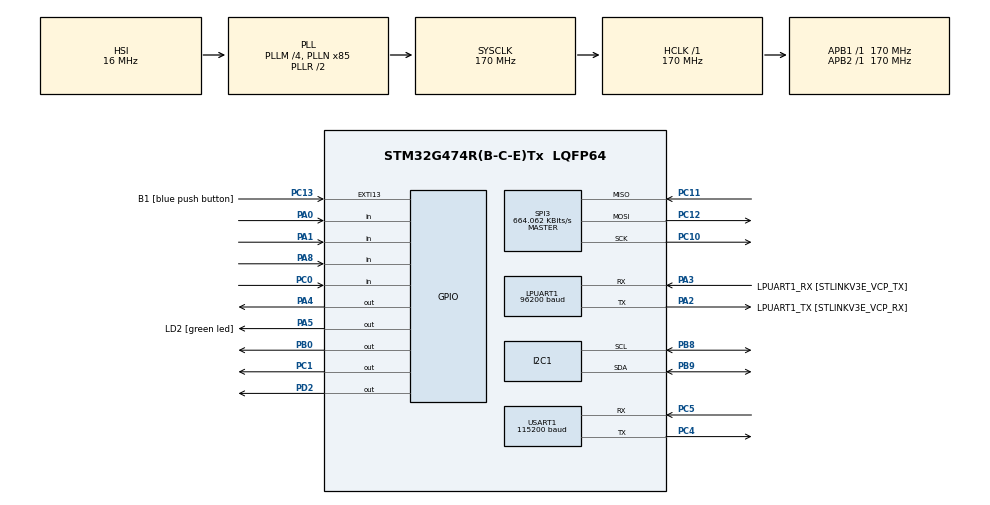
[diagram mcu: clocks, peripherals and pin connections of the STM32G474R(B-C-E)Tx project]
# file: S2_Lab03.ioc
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Dma.I2C1_RX.1.Direction=DMA_PERIPH_TO_MEMORY
Dma.I2C1_RX.1.EventEnable=DISABLE
Dma.I2C1_RX.1.Instance=DMA1_Channel1
Dma.I2C1_RX.1.MemDataAlignment=DMA_MDATAALIGN_BYTE
Dma.I2C1_RX.1.MemInc=DMA_MINC_ENABLE
Dma.I2C1_RX.1.Mode=DMA_NORMAL
Dma.I2C1_RX.1.PeriphDataAlignment=DMA_PDATAALIGN_BYTE
Dma.I2C1_RX.1.PeriphInc=DMA_PINC_DISABLE
Dma.I2C1_RX.1.Polarity=HAL_DMAMUX_REQ_GEN_RISING
Dma.I2C1_RX.1.Priority=DMA_PRIORITY_LOW
Dma.I2C1_RX.1.RequestNumber=1
Dma.I2C1_RX.1.SignalID=NONE
Dma.I2C1_RX.1.SyncEnable=DISABLE
Dma.I2C1_RX.1.SyncPolarity=HAL_DMAMUX_SYNC_NO_EVENT
Dma.I2C1_RX.1.SyncRequestNumber=1
Dma.I2C1_RX.1.SyncSignalID=NONE
Dma.I2C1_TX.2.Direction=DMA_MEMORY_TO_PERIPH
Dma.I2C1_TX.2.EventEnable=DISABLE
Dma.I2C1_TX.2.Instance=DMA1_Channel2
Dma.I2C1_TX.2.MemDataAlignment=DMA_MDATAALIGN_BYTE
Dma.I2C1_TX.2.MemInc=DMA_MINC_ENABLE
Dma.I2C1_TX.2.Mode=DMA_NORMAL
Dma.I2C1_TX.2.PeriphDataAlignment=DMA_PDATAALIGN_BYTE
Dma.I2C1_TX.2.PeriphInc=DMA_PINC_DISABLE
Dma.I2C1_TX.2.Polarity=HAL_DMAMUX_REQ_GEN_RISING
Dma.I2C1_TX.2.Priority=DMA_PRIORITY_LOW
Dma.I2C1_TX.2.RequestNumber=1
Dma.I2C1_TX.2.SignalID=NONE
Dma.I2C1_TX.2.SyncEnable=DISABLE
Dma.I2C1_TX.2.SyncPolarity=HAL_DMAMUX_SYNC_NO_EVENT
Dma.I2C1_TX.2.SyncRequestNumber=1
Dma.I2C1_TX.2.SyncSignalID=NONE
Dma.LPUART1_RX.0.Direction=DMA_PERIPH_TO_MEMORY
Dma.LPUART1_RX.0.EventEnable=DISABLE
Dma.LPUART1_RX.0.Instance=DMA1_Channel3
Dma.LPUART1_RX.0.MemDataAlignment=DMA_MDATAALIGN_BYTE
Dma.LPUART1_RX.0.MemInc=DMA_MINC_ENABLE
Dma.LPUART1_RX.0.Mode=DMA_NORMAL
Dma.LPUART1_RX.0.PeriphDataAlignment=DMA_PDATAALIGN_BYTE
Dma.LPUART1_RX.0.PeriphInc=DMA_PINC_DISABLE
Dma.LPUART1_RX.0.Polarity=HAL_DMAMUX_REQ_GEN_RISING
Dma.LPUART1_RX.0.Priority=DMA_PRIORITY_LOW
Dma.LPUART1_RX.0.RequestNumber=1
Dma.LPUART1_RX.0.SignalID=NONE
Dma.LPUART1_RX.0.SyncEnable=DISABLE
Dma.LPUART1_RX.0.SyncPolarity=HAL_DMAMUX_SYNC_NO_EVENT
Dma.LPUART1_RX.0.SyncRequestNumber=1
Dma.LPUART1_RX.0.SyncSignalID=NONE
Dma.Request0=LPUART1_RX
Dma.Request1=I2C1_RX
Dma.Request2=I2C1_TX
I2C1.Timing=0x30A0A7FB
LPUART1.BaudRate=96200
LPUART1.StopBits=UART_STOPBITS_1
LPUART1.WordLength=UART_WORDLENGTH_8B
Mcu.Family=STM32G4
Mcu.Name=STM32G474R(B-C-E)Tx
Mcu.Package=LQFP64
NVIC.DMA1_Channel1_IRQn=true\:0\:0\:false\:false\:true\:false\:true\:true
NVIC.DMA1_Channel2_IRQn=true\:0\:0\:false\:false\:true\:false\:true\:true
NVIC.DMA1_Channel3_IRQn=true\:0\:0\:false\:false\:true\:false\:true\:true
NVIC.EXTI15_10_IRQn=true\:0\:0\:false\:false\:true\:true\:true\:true
NVIC.I2C1_ER_IRQn=true\:0\:0\:false\:false\:true\:true\:true\:true
NVIC.I2C1_EV_IRQn=true\:0\:0\:false\:false\:true\:true\:true\:true
NVIC.PriorityGroup=NVIC_PRIORITYGROUP_4
NVIC.SPI3_IRQn=true\:0\:0\:false\:false\:true\:true\:true\:true
PA0.GPIO_PuPd=GPIO_NOPULL
PA0.Signal=GPIO_Input
PA1.Signal=GPIO_Input
PA13.GPIO_Label=T_SWDIO
PA13.Mode=Serial_Wire
PA13.Signal=SYS_JTMS-SWDIO
PA14.GPIO_Label=T_SWCLK
PA14.Mode=Serial_Wire
PA14.Signal=SYS_JTCK-SWCLK
PA2.GPIO_Label=LPUART1_TX [STLINKV3E_VCP_RX]
PA2.Mode=Asynchronous
PA2.Signal=LPUART1_TX
PA3.GPIO_Label=LPUART1_RX [STLINKV3E_VCP_TX]
PA3.Mode=Asynchronous
PA3.Signal=LPUART1_RX
PA4.GPIO_ModeDefaultOutputPP=GPIO_MODE_OUTPUT_OD
PA4.GPIO_PuPd=GPIO_NOPULL
PA4.Signal=GPIO_Output
PA5.GPIO_Label=LD2 [green led]
PA5.GPIO_ModeDefaultOutputPP=GPIO_MODE_OUTPUT_OD
PA5.GPIO_PuPd=GPIO_NOPULL
PA5.Signal=GPIO_Output
PA8.Signal=GPIO_Input
PB0.GPIO_ModeDefaultOutputPP=GPIO_MODE_OUTPUT_OD
PB0.GPIO_PuPd=GPIO_NOPULL
PB0.Signal=GPIO_Output
PB3.GPIO_Label=T_SWO
PB3.Signal=SYS_JTDO-SWO
PB8-BOOT0.Mode=I2C
PB8-BOOT0.Signal=I2C1_SCL
PB9.Mode=I2C
PB9.Signal=I2C1_SDA
PC0.GPIO_PuPd=GPIO_PULLUP
PC0.Signal=GPIO_Input
PC1.GPIO_ModeDefaultOutputPP=GPIO_MODE_OUTPUT_OD
PC1.GPIO_PuPd=GPIO_NOPULL
PC1.Signal=GPIO_Output
PC10.Mode=Full_Duplex_Master
PC10.Signal=SPI3_SCK
PC11.Mode=Full_Duplex_Master
PC11.Signal=SPI3_MISO
PC12.Mode=Full_Duplex_Master
PC12.Signal=SPI3_MOSI
PC13.GPIO_Label=B1 [blue push button]
PC13.Signal=GPXTI13
PC14-OSC32_IN.Mode=LSE-External-Oscillator
PC14-OSC32_IN.Signal=RCC_OSC32_IN
PC15-OSC32_OUT.Mode=LSE-External-Oscillator
PC15-OSC32_OUT.Signal=RCC_OSC32_OUT
PC4.Mode=Asynchronous
PC4.Signal=USART1_TX
PC5.Mode=Asynchronous
PC5.Signal=USART1_RX
PD2.PinState=GPIO_PIN_SET
PD2.Signal=GPIO_Output
PF0-OSC_IN.Mode=HSE-External-Oscillator
PF0-OSC_IN.Signal=RCC_OSC_IN
PF1-OSC_OUT.Mode=HSE-External-Oscillator
PF1-OSC_OUT.Signal=RCC_OSC_OUT
ProjectManager.HeapSize=0x200
ProjectManager.StackSize=0x400
ProjectManager.TargetToolchain=STM32CubeIDE
RCC.ADC12Freq_Value=170000000
RCC.ADC345Freq_Value=170000000
RCC.AHBFreq_Value=170000000
RCC.APB1Freq_Value=170000000
RCC.APB1TimFreq_Value=170000000
RCC.APB2Freq_Value=170000000
RCC.APB2TimFreq_Value=170000000
RCC.CortexFreq_Value=170000000
RCC.EXTERNAL_CLOCK_VALUE=12288000
RCC.HCLKFreq_Value=170000000
RCC.HSE_VALUE=24000000
RCC.HSI48_VALUE=48000000
RCC.HSI_VALUE=16000000
RCC.PLLM=RCC_PLLM_DIV4
RCC.PLLN=85
RCC.RTCClockSelection=RCC_RTCCLKSOURCE_LSE
RCC.SYSCLKFreq_VALUE=170000000
RCC.SYSCLKSource=RCC_SYSCLKSOURCE_PLLCLK
RCC.USBFreq_Value=170000000
RCC.VCOOutputFreq_Value=340000000
SPI3.BaudRatePrescaler=SPI_BAUDRATEPRESCALER_256
SPI3.CLKPhase=SPI_PHASE_2EDGE
SPI3.CLKPolarity=SPI_POLARITY_HIGH
SPI3.CalculateBaudRate=664.062 KBits/s
SPI3.DataSize=SPI_DATASIZE_8BIT
SPI3.Direction=SPI_DIRECTION_2LINES
SPI3.Mode=SPI_MODE_MASTER
SPI3.VirtualType=VM_MASTER
USART1.BaudRate=115200
USART1.VirtualMode-Asynchronous=VM_ASYNC
VP_SYS_VS_DBSignals.Mode=DisableDeadBatterySignals
board=NUCLEO-G474RE

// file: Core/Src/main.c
/* USER CODE BEGIN Header */
/**
  ******************************************************************************
  * @file           : main.c
  * @brief          : Main program body
  ******************************************************************************
  * @attention
  *
  * Copyright (c) 2024 STMicroelectronics.
  * All rights reserved.
  *
  * This software is licensed under terms that can be found in the LICENSE file
  * in the root directory of this software component.
  * If no LICENSE file comes with this software, it is provided AS-IS.
  *
  ******************************************************************************
  */
/* USER CODE END Header */
#include "main.h"

/* USER CODE BEGIN PD */
#define EEPROM_ADDR 0b10100000
/* USER CODE END PD */

I2C_HandleTypeDef hi2c1;
DMA_HandleTypeDef hdma_i2c1_rx;
DMA_HandleTypeDef hdma_i2c1_tx;

UART_HandleTypeDef hlpuart1;
UART_HandleTypeDef huart1;
DMA_HandleTypeDef hdma_lpuart1_rx;

SPI_HandleTypeDef hspi3;

/* USER CODE BEGIN PV */
uint8_t databytes[4];
int8_t Rx[5];
uint16_t Counter=0;
uint16_t size=255;
//uint16_t Target;
int Target;
int answer[4] = {0 ,0 ,0 ,0};

//uint8_t answer[4] = {0 ,0 ,0 ,0};
uint8_t read[4];
uint8_t eepromExampleWriteFlag = 0;
uint8_t eepromExampleReadFlag = 0;
uint8_t eepromDataReadBack[1];
uint16_t state=0;
uint8_t mem = 0;
uint8_t stop = 0;
uint8_t data[4];
uint16_t Difficulty;
uint32_t Delay;
uint16_t Average;
uint8_t breaker;
uint16_t Score_check;
int Final_score=9;
uint8_t debug = 0;
/* USER CODE END PV */

void SystemClock_Config(void);
static void MX_GPIO_Init(void);
static void MX_DMA_Init(void);
static void MX_LPUART1_UART_Init(void);
static void MX_USART1_UART_Init(void);
static void MX_I2C1_Init(void);
static void MX_SPI3_Init(void);
/* USER CODE BEGIN PFP */
void ButtonMatrixRead();
void Numarray();
void sendUART();
void rx_UART();
void start_gen();
uint16_t random_number(uint16_t array_size);

/* USER CODE END PFP */

int main(void)
{

  /* MCU Configuration--------------------------------------------------------*/

  /* Reset of all peripherals, Initializes the Flash interface and the Systick. */
  HAL_Init();

  /* Configure the system clock */
  SystemClock_Config();

  /* Initialize all configured peripherals */
  MX_GPIO_Init();
  MX_DMA_Init();
  MX_LPUART1_UART_Init();
  MX_USART1_UART_Init();
  MX_I2C1_Init();
  MX_SPI3_Init();
  /* USER CODE BEGIN 2 */

  HAL_Delay(1000);
  /* USER CODE END 2 */

  /* Infinite loop */
  while (1)
  {

    /* USER CODE BEGIN 3 */
	  rx_UART();
	  start_gen();
	  random_number(size);
	  if(Delay != 0)
	  {
		  if(breaker==0)
		  {
			  Target=random_number(size);
			  breaker=1;
		  }
		  if (HAL_GPIO_ReadPin(GPIOA, GPIO_PIN_0) == GPIO_PIN_RESET && state==0)
		  {
			  state=1;

		  }

		  if(state==1)
		  {
			  if(HAL_GPIO_ReadPin(GPIOA, GPIO_PIN_0) == GPIO_PIN_SET )
			  {
				  stop = 1;
			  }
			  else
			  {
				  if(Counter>255)
				  {
					  Counter=0;
				  }
				  else
				  {
				  Counter+=1;
				  }
				  HAL_Delay(Delay);
			  }
		  }

		  if (HAL_GPIO_ReadPin(GPIOA, GPIO_PIN_1) == GPIO_PIN_RESET && stop == 1)
		  {
			  answer[mem] = (uint16_t)(Counter & 0xFF);

			  if (hi2c1.State == HAL_I2C_STATE_READY)
			  {
				HAL_I2C_Mem_Write_IT(&hi2c1, EEPROM_ADDR, 0x2C, I2C_MEMADD_SIZE_16BIT, answer, 4);
			  }

			  HAL_Delay(50);

			  if (hi2c1.State == HAL_I2C_STATE_READY)
			  {
					HAL_I2C_Mem_Read_IT(&hi2c1, EEPROM_ADDR, 0x2c, I2C_MEMADD_SIZE_16BIT,read, 4);
			  }

			  mem++;
			  stop = 0;
			  Counter=0;
			  state=0;
		  }

		  if (mem==4)
		  {
			  Final_score=0;
			  for(int i=0;i<4;i++)
			  {
				if(answer[i]>=Target)
				{
					Final_score += Target/answer[i];
					debug = 9;
				}
				else if(answer[i]<Target)
				{
					Final_score += answer[i]/Target;
					debug = 10;
				}
			  }

			  memset(answer,0,sizeof(answer));
			  if (hi2c1.State == HAL_I2C_STATE_READY)
			  {
				HAL_I2C_Mem_Write_IT(&hi2c1, EEPROM_ADDR, 0x2C, I2C_MEMADD_SIZE_16BIT, answer, 4);
			  }
			  memset(read,0,sizeof(read));
			  mem=0;
		  }

  	  }
	  sendUART();

//	  static uint32_t BTMX_TimeStamp = 0;
//	  if(HAL_GetTick() > BTMX_TimeStamp)
//	  {
//	  BTMX_TimeStamp = HAL_GetTick() + 25; //next scan in 25 ms
//	  ButtonMatrixRead();
//	  start_gen();
//	  random_number(size);
//	  Numarray();
//
//	  if(ButtonState==0)
//	  {
//	  index = random_number(sizeof(quiz) / sizeof(quiz[0]));
//	  random_quiz=quiz[index];
//
////	  HAL_Delay(500);
//	  }
//	  if(quiz[index]==answer && x==y)
//	  	  	{
//		  	  	point_old=point;
//	  	  		point+=1;
//	  	  		x=1;
//
//	  	  	}
//	  sendUART();
//	  answer=0;
//
//
//	  }
//	  rx_UART();
//	  //	  rx_UART();
//	  if(ButtonState==0 && x==1)
//	  {
//	  x=0;
//	  }
//	  EEPROMReadExample(eepromDataReadBack, 3);
//  }
  /* USER CODE END 3 */
}
}
void SystemClock_Config(void)
{
  RCC_OscInitTypeDef RCC_OscInitStruct = {0};
  RCC_ClkInitTypeDef RCC_ClkInitStruct = {0};

  /** Configure the main internal regulator output voltage
  */
  HAL_PWREx_ControlVoltageScaling(PWR_REGULATOR_VOLTAGE_SCALE1_BOOST);

  /** Initializes the RCC Oscillators according to the specified parameters
  * in the RCC_OscInitTypeDef structure.
  */
  RCC_OscInitStruct.OscillatorType = RCC_OSCILLATORTYPE_HSI;
  RCC_OscInitStruct.HSIState = RCC_HSI_ON;
  RCC_OscInitStruct.HSICalibrationValue = RCC_HSICALIBRATION_DEFAULT;
  RCC_OscInitStruct.PLL.PLLState = RCC_PLL_ON;
  RCC_OscInitStruct.PLL.PLLSource = RCC_PLLSOURCE_HSI;
  RCC_OscInitStruct.PLL.PLLM = RCC_PLLM_DIV4;
  RCC_OscInitStruct.PLL.PLLN = 85;
  RCC_OscInitStruct.PLL.PLLP = RCC_PLLP_DIV2;
  RCC_OscInitStruct.PLL.PLLQ = RCC_PLLQ_DIV2;
  RCC_OscInitStruct.PLL.PLLR = RCC_PLLR_DIV2;
  if (HAL_RCC_OscConfig(&RCC_OscInitStruct) != HAL_OK)
  {
    Error_Handler();
  }

  /** Initializes the CPU, AHB and APB buses clocks
  */
  RCC_ClkInitStruct.ClockType = RCC_CLOCKTYPE_HCLK|RCC_CLOCKTYPE_SYSCLK
                              |RCC_CLOCKTYPE_PCLK1|RCC_CLOCKTYPE_PCLK2;
  RCC_ClkInitStruct.SYSCLKSource = RCC_SYSCLKSOURCE_PLLCLK;
  RCC_ClkInitStruct.AHBCLKDivider = RCC_SYSCLK_DIV1;
  RCC_ClkInitStruct.APB1CLKDivider = RCC_HCLK_DIV1;
  RCC_ClkInitStruct.APB2CLKDivider = RCC_HCLK_DIV1;

  if (HAL_RCC_ClockConfig(&RCC_ClkInitStruct, FLASH_LATENCY_4) != HAL_OK)
  {
    Error_Handler();
  }
}

static void MX_I2C1_Init(void)
{

  hi2c1.Instance = I2C1;
  hi2c1.Init.Timing = 0x30A0A7FB;
  hi2c1.Init.OwnAddress1 = 0;
  hi2c1.Init.AddressingMode = I2C_ADDRESSINGMODE_7BIT;
  hi2c1.Init.DualAddressMode = I2C_DUALADDRESS_DISABLE;
  hi2c1.Init.OwnAddress2 = 0;
  hi2c1.Init.OwnAddress2Masks = I2C_OA2_NOMASK;
  hi2c1.Init.GeneralCallMode = I2C_GENERALCALL_DISABLE;
  hi2c1.Init.NoStretchMode = I2C_NOSTRETCH_DISABLE;
  if (HAL_I2C_Init(&hi2c1) != HAL_OK)
  {
    Error_Handler();
  }

  /** Configure Analogue filter
  */
  if (HAL_I2CEx_ConfigAnalogFilter(&hi2c1, I2C_ANALOGFILTER_ENABLE) != HAL_OK)
  {
    Error_Handler();
  }

  /** Configure Digital filter
  */
  if (HAL_I2CEx_ConfigDigitalFilter(&hi2c1, 0) != HAL_OK)
  {
    Error_Handler();
  }

}

static void MX_LPUART1_UART_Init(void)
{

  hlpuart1.Instance = LPUART1;
  hlpuart1.Init.BaudRate = 96200;
  hlpuart1.Init.WordLength = UART_WORDLENGTH_8B;
  hlpuart1.Init.StopBits = UART_STOPBITS_1;
  hlpuart1.Init.Parity = UART_PARITY_NONE;
  hlpuart1.Init.Mode = UART_MODE_TX_RX;
  hlpuart1.Init.HwFlowCtl = UART_HWCONTROL_NONE;
  hlpuart1.Init.OneBitSampling = UART_ONE_BIT_SAMPLE_DISABLE;
  hlpuart1.Init.ClockPrescaler = UART_PRESCALER_DIV1;
  hlpuart1.AdvancedInit.AdvFeatureInit = UART_ADVFEATURE_NO_INIT;
  if (HAL_UART_Init(&hlpuart1) != HAL_OK)
  {
    Error_Handler();
  }
  if (HAL_UARTEx_SetTxFifoThreshold(&hlpuart1, UART_TXFIFO_THRESHOLD_1_8) != HAL_OK)
  {
    Error_Handler();
  }
  if (HAL_UARTEx_SetRxFifoThreshold(&hlpuart1, UART_RXFIFO_THRESHOLD_1_8) != HAL_OK)
  {
    Error_Handler();
  }
  if (HAL_UARTEx_DisableFifoMode(&hlpuart1) != HAL_OK)
  {
    Error_Handler();
  }

}

static void MX_USART1_UART_Init(void)
{

  huart1.Instance = USART1;
  huart1.Init.BaudRate = 115200;
  huart1.Init.WordLength = UART_WORDLENGTH_8B;
  huart1.Init.StopBits = UART_STOPBITS_1;
  huart1.Init.Parity = UART_PARITY_NONE;
  huart1.Init.Mode = UART_MODE_TX_RX;
  huart1.Init.HwFlowCtl = UART_HWCONTROL_NONE;
  huart1.Init.OverSampling = UART_OVERSAMPLING_16;
  huart1.Init.OneBitSampling = UART_ONE_BIT_SAMPLE_DISABLE;
  huart1.Init.ClockPrescaler = UART_PRESCALER_DIV1;
  huart1.AdvancedInit.AdvFeatureInit = UART_ADVFEATURE_NO_INIT;
  if (HAL_UART_Init(&huart1) != HAL_OK)
  {
    Error_Handler();
  }
  if (HAL_UARTEx_SetTxFifoThreshold(&huart1, UART_TXFIFO_THRESHOLD_1_8) != HAL_OK)
  {
    Error_Handler();
  }
  if (HAL_UARTEx_SetRxFifoThreshold(&huart1, UART_RXFIFO_THRESHOLD_1_8) != HAL_OK)
  {
    Error_Handler();
  }
  if (HAL_UARTEx_DisableFifoMode(&huart1) != HAL_OK)
  {
    Error_Handler();
  }

}

static void MX_SPI3_Init(void)
{

  /* SPI3 parameter configuration*/
  hspi3.Instance = SPI3;
  hspi3.Init.Mode = SPI_MODE_MASTER;
  hspi3.Init.Direction = SPI_DIRECTION_2LINES;
  hspi3.Init.DataSize = SPI_DATASIZE_8BIT;
  hspi3.Init.CLKPolarity = SPI_POLARITY_HIGH;
  hspi3.Init.CLKPhase = SPI_PHASE_2EDGE;
  hspi3.Init.NSS = SPI_NSS_SOFT;
  hspi3.Init.BaudRatePrescaler = SPI_BAUDRATEPRESCALER_256;
  hspi3.Init.FirstBit = SPI_FIRSTBIT_MSB;
  hspi3.Init.TIMode = SPI_TIMODE_DISABLE;
  hspi3.Init.CRCCalculation = SPI_CRCCALCULATION_DISABLE;
  hspi3.Init.CRCPolynomial = 7;
  hspi3.Init.CRCLength = SPI_CRC_LENGTH_DATASIZE;
  hspi3.Init.NSSPMode = SPI_NSS_PULSE_DISABLE;
  if (HAL_SPI_Init(&hspi3) != HAL_OK)
  {
    Error_Handler();
  }

}

static void MX_DMA_Init(void)
{

  /* DMA controller clock enable */
  __HAL_RCC_DMAMUX1_CLK_ENABLE();
  __HAL_RCC_DMA1_CLK_ENABLE();

  /* DMA interrupt init */
  /* DMA1_Channel1_IRQn interrupt configuration */
  HAL_NVIC_SetPriority(DMA1_Channel1_IRQn, 0, 0);
  HAL_NVIC_EnableIRQ(DMA1_Channel1_IRQn);
  /* DMA1_Channel2_IRQn interrupt configuration */
  HAL_NVIC_SetPriority(DMA1_Channel2_IRQn, 0, 0);
  HAL_NVIC_EnableIRQ(DMA1_Channel2_IRQn);
  /* DMA1_Channel3_IRQn interrupt configuration */
  HAL_NVIC_SetPriority(DMA1_Channel3_IRQn, 0, 0);
  HAL_NVIC_EnableIRQ(DMA1_Channel3_IRQn);

}

static void MX_GPIO_Init(void)
{
  GPIO_InitTypeDef GPIO_InitStruct = {0};

  /* GPIO Ports Clock Enable */
  __HAL_RCC_GPIOC_CLK_ENABLE();
  __HAL_RCC_GPIOF_CLK_ENABLE();
  __HAL_RCC_GPIOA_CLK_ENABLE();
  __HAL_RCC_GPIOB_CLK_ENABLE();
  __HAL_RCC_GPIOD_CLK_ENABLE();

  /*Configure GPIO pin Output Level */
  HAL_GPIO_WritePin(GPIOC, GPIO_PIN_1, GPIO_PIN_RESET);

  /*Configure GPIO pin Output Level */
  HAL_GPIO_WritePin(GPIOA, GPIO_PIN_4|LD2_Pin, GPIO_PIN_RESET);

  /*Configure GPIO pin Output Level */
  HAL_GPIO_WritePin(GPIOB, GPIO_PIN_0, GPIO_PIN_RESET);

  /*Configure GPIO pin Output Level */
  HAL_GPIO_WritePin(GPIOD, GPIO_PIN_2, GPIO_PIN_SET);

  /*Configure GPIO pin : B1_Pin */
  GPIO_InitStruct.Pin = B1_Pin;
  GPIO_InitStruct.Mode = GPIO_MODE_IT_RISING;
  GPIO_InitStruct.Pull = GPIO_NOPULL;
  HAL_GPIO_Init(B1_GPIO_Port, &GPIO_InitStruct);

  /*Configure GPIO pin : PC0 */
  GPIO_InitStruct.Pin = GPIO_PIN_0;
  GPIO_InitStruct.Mode = GPIO_MODE_INPUT;
  GPIO_InitStruct.Pull = GPIO_PULLUP;
  HAL_GPIO_Init(GPIOC, &GPIO_InitStruct);

  /*Configure GPIO pin : PC1 */
  GPIO_InitStruct.Pin = GPIO_PIN_1;
  GPIO_InitStruct.Mode = GPIO_MODE_OUTPUT_OD;
  GPIO_InitStruct.Pull = GPIO_NOPULL;
  GPIO_InitStruct.Speed = GPIO_SPEED_FREQ_LOW;
  HAL_GPIO_Init(GPIOC, &GPIO_InitStruct);

  /*Configure GPIO pins : PA0 PA1 PA8 */
  GPIO_InitStruct.Pin = GPIO_PIN_0|GPIO_PIN_1|GPIO_PIN_8;
  GPIO_InitStruct.Mode = GPIO_MODE_INPUT;
  GPIO_InitStruct.Pull = GPIO_NOPULL;
  HAL_GPIO_Init(GPIOA, &GPIO_InitStruct);

  /*Configure GPIO pins : PA4 LD2_Pin */
  GPIO_InitStruct.Pin = GPIO_PIN_4|LD2_Pin;
  GPIO_InitStruct.Mode = GPIO_MODE_OUTPUT_OD;
  GPIO_InitStruct.Pull = GPIO_NOPULL;
  GPIO_InitStruct.Speed = GPIO_SPEED_FREQ_LOW;
  HAL_GPIO_Init(GPIOA, &GPIO_InitStruct);

  /*Configure GPIO pin : PB0 */
  GPIO_InitStruct.Pin = GPIO_PIN_0;
  GPIO_InitStruct.Mode = GPIO_MODE_OUTPUT_OD;
  GPIO_InitStruct.Pull = GPIO_NOPULL;
  GPIO_InitStruct.Speed = GPIO_SPEED_FREQ_LOW;
  HAL_GPIO_Init(GPIOB, &GPIO_InitStruct);

  /*Configure GPIO pin : PD2 */
  GPIO_InitStruct.Pin = GPIO_PIN_2;
  GPIO_InitStruct.Mode = GPIO_MODE_OUTPUT_PP;
  GPIO_InitStruct.Pull = GPIO_NOPULL;
  GPIO_InitStruct.Speed = GPIO_SPEED_FREQ_LOW;
  HAL_GPIO_Init(GPIOD, &GPIO_InitStruct);

  /* EXTI interrupt init*/
  HAL_NVIC_SetPriority(EXTI15_10_IRQn, 0, 0);
  HAL_NVIC_EnableIRQ(EXTI15_10_IRQn);

}

/* USER CODE BEGIN 4 */
void sendUART()
{

		databytes[0] = 0x45; // Header byte
		databytes[1] = (uint8_t)(Final_score & 0x00FF); // Lower byte
		databytes[2] = (uint8_t)((Final_score >> 8) & 0x00FF); // Upper byte
		databytes[3] = 0x0A;
		HAL_UART_Transmit(&hlpuart1, databytes, sizeof(databytes), 10);
//		Average=0;
//		HAL_UART_Transmit(&huart1, databytes, sizeof(databytes), 10);
//		if(i<=2)
//			{
//			i+=1;
//			}
//			else if (i>2)
//			{
//				i=0;
//			}
//		HAL_Delay(500);
}
void rx_UART()
{
	Rx[4] = '\0';
	HAL_UART_Receive(&hlpuart1, Rx, 5,10);
	Difficulty = (uint16_t)(Rx[2]<< 8) + (uint8_t)(Rx[1]);

	switch (Difficulty)
	{
	case 1:
		Delay = 200;
		break;
	case 2:
		Delay = 100;
		break;
	case 3:
		Delay = 5;
		break;
	}

//			    z = (RxBuffer[6] & 0x0F) + ((RxBuffer[5] & 0x0F) << 4 );
//			    z = RxBuffer[5]+RxBuffer[6];
}
//	                if (size==11){
//	                	size=11;
//
//	                }
//	                if (ButtonState!=0 && ButtonState!=128 && ButtonState!=2048)
//	                {
//	                    state=1;
//	                }
//	                if (state==1)
//	                {
//	                	if (size<=11){
//	                    if (ButtonState==0)
//	                    {
//	                    ans[size]=numchar;
//	                    numarray[size]=Numberpad;
//	                    size++;
//	                    state=0;
//	                    }
//	                	}
//	                }
	//            ans[size]=numchar;
	//            numarray[size]=Numberpad;
	//            size++;

//	                if (ButtonState==2048)
//	                {
//	                    if (wmemcmp(ans,"65340500064")==0)
//	                    {
//	                    HAL_GPIO_WritePin(GPIOA, GPIO_PIN_5,GPIO_PIN_SET);
//	                    }
//	                    else if (wmemcmp(ans,"65340500064")!=0 || wmemcmp(numarray, check, sizeof(numarray)!=0))
//	                    {
//	                    	HAL_GPIO_WritePin(GPIOA, GPIO_PIN_5,GPIO_PIN_RESET);
//	                    }
//	                }
void start_gen()
{
	srand(HAL_GetTick());
}
uint16_t random_number(uint16_t array_size)
{
    return rand() % array_size;
}

/* USER CODE END 4 */

void Error_Handler(void)
{
  __disable_irq();
  while (1)
  {
  }
}
